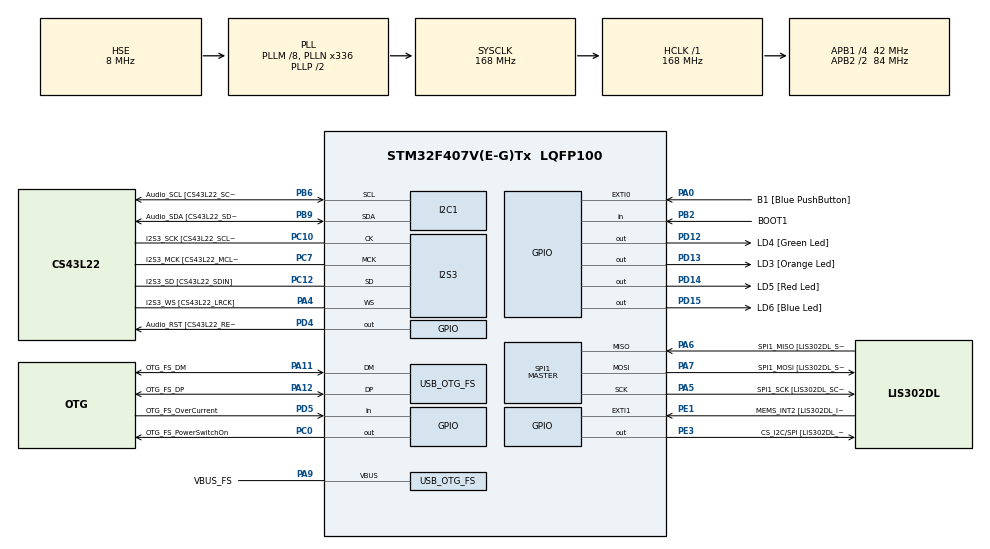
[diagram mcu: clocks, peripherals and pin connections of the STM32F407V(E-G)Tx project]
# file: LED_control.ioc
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I2S3.AudioFreq-Half_Duplex_Master=I2S_AUDIOFREQ_96K
I2S3.ErrorAudioFreq=-2.34 %
I2S3.ErrorAudioFreq-Half_Duplex_Master=0.8 %
I2S3.FullDuplexMode=I2S_FULLDUPLEXMODE_DISABLE
I2S3.Instance=SPI$Index
I2S3.RealAudioFreq=93.75 KHz
I2S3.RealAudioFreq-Half_Duplex_Master=96.774 KHz
I2S3.VirtualMode=I2S_MODE_MASTER
Mcu.Family=STM32F4
Mcu.Name=STM32F407V(E-G)Tx
Mcu.Package=LQFP100
NVIC.OTG_FS_IRQn=true\:0\:0\:false\:false\:true\:true\:true\:true
NVIC.PriorityGroup=NVIC_PRIORITYGROUP_0
PA0-WKUP.GPIO_Label=B1 [Blue PushButton]
PA0-WKUP.GPIO_ModeDefaultEXTI=GPIO_MODE_EVT_RISING
PA0-WKUP.GPIO_PuPd=GPIO_NOPULL
PA0-WKUP.Signal=GPXTI0
PA10.GPIO_Label=OTG_FS_ID
PA10.GPIO_Mode=GPIO_MODE_AF_PP
PA10.GPIO_PuPd=GPIO_NOPULL
PA10.GPIO_Speed=GPIO_SPEED_FREQ_LOW
PA10.Signal=USB_OTG_FS_ID
PA11.GPIO_Label=OTG_FS_DM
PA11.GPIO_Mode=GPIO_MODE_AF_PP
PA11.GPIO_PuPd=GPIO_NOPULL
PA11.GPIO_Speed=GPIO_SPEED_FREQ_LOW
PA11.Mode=Host_Only
PA11.Signal=USB_OTG_FS_DM
PA12.GPIO_Label=OTG_FS_DP
PA12.GPIO_Mode=GPIO_MODE_AF_PP
PA12.GPIO_PuPd=GPIO_NOPULL
PA12.GPIO_Speed=GPIO_SPEED_FREQ_LOW
PA12.Mode=Host_Only
PA12.Signal=USB_OTG_FS_DP
PA13.GPIO_Label=SWDIO
PA13.Mode=Serial_Wire
PA13.Signal=SYS_JTMS-SWDIO
PA14.GPIO_Label=SWCLK
PA14.Mode=Serial_Wire
PA14.Signal=SYS_JTCK-SWCLK
PA4.GPIO_Label=I2S3_WS [CS43L22_LRCK]
PA4.GPIO_Mode=GPIO_MODE_AF_PP
PA4.GPIO_PuPd=GPIO_NOPULL
PA4.GPIO_Speed=GPIO_SPEED_FREQ_LOW
PA4.Mode=Half_Duplex_Master
PA4.Signal=I2S3_WS
PA5.GPIO_Label=SPI1_SCK [LIS302DL_SCL/SPC]
PA5.GPIO_Mode=GPIO_MODE_AF_PP
PA5.GPIO_PuPd=GPIO_NOPULL
PA5.GPIO_Speed=GPIO_SPEED_FREQ_LOW
PA5.Mode=Full_Duplex_Master
PA5.Signal=SPI1_SCK
PA6.GPIO_Label=SPI1_MISO [LIS302DL_SDO]
PA6.GPIO_Mode=GPIO_MODE_AF_PP
PA6.GPIO_PuPd=GPIO_NOPULL
PA6.GPIO_Speed=GPIO_SPEED_FREQ_LOW
PA6.Mode=Full_Duplex_Master
PA6.Signal=SPI1_MISO
PA7.GPIO_Label=SPI1_MOSI [LIS302DL_SDA/SDI/SDO]
PA7.GPIO_Mode=GPIO_MODE_AF_PP
PA7.GPIO_PuPd=GPIO_NOPULL
PA7.GPIO_Speed=GPIO_SPEED_FREQ_LOW
PA7.Mode=Full_Duplex_Master
PA7.Signal=SPI1_MOSI
PA9.GPIO_Label=VBUS_FS
PA9.GPIO_Mode=GPIO_MODE_INPUT
PA9.GPIO_PuPd=GPIO_NOPULL
PA9.Mode=Activate_VBUS
PA9.Signal=USB_OTG_FS_VBUS
PB10.GPIO_Label=CLK_IN [MP45DT02_CLK]
PB10.GPIO_Mode=GPIO_MODE_AF_PP
PB10.GPIO_PuPd=GPIO_NOPULL
PB10.GPIO_Speed=GPIO_SPEED_FREQ_LOW
PB10.Signal=I2S2_CK
PB2.GPIO_Label=BOOT1
PB2.GPIO_Mode=GPIO_MODE_INPUT
PB2.GPIO_PuPd=GPIO_NOPULL
PB2.Signal=GPIO_Input
PB3.GPIO_Label=SWO
PB3.Signal=SYS_JTDO-SWO
PB6.GPIO_Label=Audio_SCL [CS43L22_SCL]
PB6.GPIO_Mode=GPIO_MODE_AF_OD
PB6.GPIO_Pu=GPIO_PULLUP
PB6.GPIO_PuPd=GPIO_NOPULL
PB6.GPIO_Speed=GPIO_SPEED_FREQ_LOW
PB6.Mode=I2C
PB6.Signal=I2C1_SCL
PB9.GPIO_Label=Audio_SDA [CS43L22_SDA]
PB9.GPIO_Mode=GPIO_MODE_AF_OD
PB9.GPIO_Pu=GPIO_PULLUP
PB9.GPIO_PuPd=GPIO_NOPULL
PB9.GPIO_Speed=GPIO_SPEED_FREQ_LOW
PB9.Mode=I2C
PB9.Signal=I2C1_SDA
PC0.GPIO_Label=OTG_FS_PowerSwitchOn
PC0.GPIO_PuPd=GPIO_NOPULL
PC0.GPIO_Speed=GPIO_SPEED_FREQ_LOW
PC0.PinState=GPIO_PIN_SET
PC0.Signal=GPIO_Output
PC10.GPIO_Label=I2S3_SCK [CS43L22_SCLK]
PC10.GPIO_Mode=GPIO_MODE_AF_PP
PC10.GPIO_PuPd=GPIO_NOPULL
PC10.GPIO_Speed=GPIO_SPEED_FREQ_LOW
PC10.Mode=Half_Duplex_Master
PC10.Signal=I2S3_CK
PC12.GPIO_Label=I2S3_SD [CS43L22_SDIN]
PC12.GPIO_Mode=GPIO_MODE_AF_PP
PC12.GPIO_PuPd=GPIO_NOPULL
PC12.GPIO_Speed=GPIO_SPEED_FREQ_LOW
PC12.Mode=Half_Duplex_Master
PC12.Signal=I2S3_SD
PC14-OSC32_IN.GPIO_Label=PC14-OSC32_IN
PC14-OSC32_IN.Mode=LSE-External-Oscillator
PC14-OSC32_IN.Signal=RCC_OSC32_IN
PC15-OSC32_OUT.GPIO_Label=PC15-OSC32_OUT
PC15-OSC32_OUT.Mode=LSE-External-Oscillator
PC15-OSC32_OUT.Signal=RCC_OSC32_OUT
PC3.GPIO_Label=PDM_OUT [MP45DT02_DOUT]
PC3.GPIO_Mode=GPIO_MODE_AF_PP
PC3.GPIO_PuPd=GPIO_NOPULL
PC3.GPIO_Speed=GPIO_SPEED_FREQ_LOW
PC3.Signal=I2S2_SD
PC7.GPIO_Label=I2S3_MCK [CS43L22_MCLK]
PC7.GPIO_Mode=GPIO_MODE_AF_PP
PC7.GPIO_PuPd=GPIO_NOPULL
PC7.GPIO_Speed=GPIO_SPEED_FREQ_LOW
PC7.Mode=Master_Clock_Activated
PC7.Signal=I2S3_MCK
PD12.GPIO_Label=LD4 [Green Led]
PD12.GPIO_PuPd=GPIO_NOPULL
PD12.GPIO_Speed=GPIO_SPEED_FREQ_LOW
PD12.Signal=GPIO_Output
PD13.GPIO_Label=LD3 [Orange Led]
PD13.GPIO_PuPd=GPIO_NOPULL
PD13.GPIO_Speed=GPIO_SPEED_FREQ_LOW
PD13.Signal=GPIO_Output
PD14.GPIO_Label=LD5 [Red Led]
PD14.GPIO_PuPd=GPIO_NOPULL
PD14.GPIO_Speed=GPIO_SPEED_FREQ_LOW
PD14.Signal=GPIO_Output
PD15.GPIO_Label=LD6 [Blue Led]
PD15.GPIO_PuPd=GPIO_NOPULL
PD15.GPIO_Speed=GPIO_SPEED_FREQ_LOW
PD15.Signal=GPIO_Output
PD4.GPIO_Label=Audio_RST [CS43L22_RESET]
PD4.GPIO_PuPd=GPIO_NOPULL
PD4.GPIO_Speed=GPIO_SPEED_FREQ_LOW
PD4.Signal=GPIO_Output
PD5.GPIO_Label=OTG_FS_OverCurrent
PD5.GPIO_Mode=GPIO_MODE_INPUT
PD5.GPIO_PuPd=GPIO_NOPULL
PD5.Signal=GPIO_Input
PE1.GPIO_Label=MEMS_INT2 [LIS302DL_INT2]
PE1.GPIO_ModeDefaultEXTI=GPIO_MODE_EVT_RISING
PE1.GPIO_PuPd=GPIO_NOPULL
PE1.Signal=GPXTI1
PE3.GPIO_Label=CS_I2C/SPI [LIS302DL_CS_I2C/SPI]
PE3.GPIO_PuPd=GPIO_NOPULL
PE3.GPIO_Speed=GPIO_SPEED_FREQ_LOW
PE3.Signal=GPIO_Output
PH0-OSC_IN.GPIO_Label=PH0-OSC_IN
PH0-OSC_IN.Mode=HSE-External-Oscillator
PH0-OSC_IN.Signal=RCC_OSC_IN
PH1-OSC_OUT.GPIO_Label=PH1-OSC_OUT
PH1-OSC_OUT.Mode=HSE-External-Oscillator
PH1-OSC_OUT.Signal=RCC_OSC_OUT
ProjectManager.HeapSize=0x400
ProjectManager.StackSize=0x800
ProjectManager.TargetToolchain=STM32CubeIDE
RCC.48MHZClocksFreq_Value=48000000
RCC.AHBFreq_Value=168000000
RCC.APB1CLKDivider=RCC_HCLK_DIV4
RCC.APB1Freq_Value=42000000
RCC.APB1TimFreq_Value=84000000
RCC.APB2CLKDivider=RCC_HCLK_DIV2
RCC.APB2Freq_Value=84000000
RCC.APB2TimFreq_Value=168000000
RCC.CortexFreq_Value=168000000
RCC.HCLKFreq_Value=168000000
RCC.HSE_VALUE=8000000
RCC.HSI_VALUE=16000000
RCC.PLLM=8
RCC.PLLN=336
RCC.PLLQ=7
RCC.SYSCLKFreq_VALUE=168000000
RCC.SYSCLKSource=RCC_SYSCLKSOURCE_PLLCLK
RCC.VCOOutputFreq_Value=336000000
SPI1.BaudRatePrescaler-Full_Duplex_Master=SPI_BAUDRATEPRESCALER_2
SPI1.CalculateBaudRate-Full_Duplex_Master=42.0 MBits/s
SPI1.Direction=SPI_DIRECTION_2LINES
SPI1.Mode=SPI_MODE_MASTER
SPI1.Mode-Full_Duplex_Master=SPI_MODE_MASTER
SPI1.VirtualType=VM_MASTER
USB_HOST.BSP.number=1
USB_HOST.USBH_HandleTypeDef-CDC_FS=hUsbHostFS
USB_HOST.VirtualModeFS=Cdc
USB_HOST0.BSP.STBoard=false
USB_HOST0.BSP.api=Unknown
USB_HOST0.BSP.instance=PC0
USB_HOST0.BSP.ip=GPIO
USB_HOST0.BSP.mode=Output
USB_HOST0.BSP.name=Drive_VBUS_FS
USB_HOST0.BSP.solution=PC0
USB_OTG_FS.VirtualMode=Host_Only
USB_OTG_FS.phy_itface=HCD_PHY_EMBEDDED
VP_USB_HOST_VS_USB_HOST_CDC_FS.Mode=CDC_FS
board=STM32F407G-DISC1

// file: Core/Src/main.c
/* USER CODE BEGIN Header */
/**
 ******************************************************************************
 * @file           : main.c
 * @brief          : Main program body
 ******************************************************************************
 * @attention
 *
 * Copyright (c) 2025 STMicroelectronics.
 * All rights reserved.
 *
 * This software is licensed under terms that can be found in the LICENSE file
 * in the root directory of this software component.
 * If no LICENSE file comes with this software, it is provided AS-IS.
 *
 ******************************************************************************
 */
/* USER CODE END Header */
#include "main.h"

#include "gpio.h"
#include "i2c.h"
#include "i2s.h"
#include "spi.h"
#include "usb_host.h"

/* USER CODE BEGIN PD */
#define LED_PORT GPIOD
#define LED_PIN_GREEN GPIO_PIN_12
#define LED_PIN_ORANGE GPIO_PIN_13
#define LED_PIN_RED GPIO_PIN_14
#define LED_PIN_BLUE GPIO_PIN_15

#define BUTTON_PORT GPIOA
#define BUTTON_BLUE_PIN GPIO_PIN_0

/* USER CODE END PD */

void SystemClock_Config(void);
void MX_USB_HOST_Process(void);

/* USER CODE BEGIN PFP */
void pin_on(GPIO_TypeDef* port, uint16_t pin) {
    HAL_GPIO_WritePin(port, pin, GPIO_PIN_SET);
}
void pin_off(GPIO_TypeDef* port, uint16_t pin) {
    HAL_GPIO_WritePin(port, pin, GPIO_PIN_RESET);
}
/* USER CODE END PFP */

int main(void) {

    /* MCU
     * Configuration--------------------------------------------------------*/

    /* Reset of all peripherals, Initializes the Flash interface and the
     * Systick. */
    HAL_Init();

    /* Configure the system clock */
    SystemClock_Config();

    /* Initialize all configured peripherals */
    MX_GPIO_Init();
    MX_I2C1_Init();
    MX_I2S3_Init();
    MX_SPI1_Init();
    MX_USB_HOST_Init();

    /* Infinite loop */
    /* USER CODE BEGIN WHILE */
    while (1) {
        const uint16_t LEDs = LED_PIN_GREEN | LED_PIN_RED;
        pin_on(LED_PORT, LEDs);
        HAL_Delay(200);
        pin_off(LED_PORT, LEDs);
        HAL_Delay(200);
        /* USER CODE END WHILE */
        MX_USB_HOST_Process();

    }
}

void SystemClock_Config(void) {
    RCC_OscInitTypeDef RCC_OscInitStruct = {0};
    RCC_ClkInitTypeDef RCC_ClkInitStruct = {0};

    /** Configure the main internal regulator output voltage
     */
    __HAL_RCC_PWR_CLK_ENABLE();
    __HAL_PWR_VOLTAGESCALING_CONFIG(PWR_REGULATOR_VOLTAGE_SCALE1);

    /** Initializes the RCC Oscillators according to the specified parameters
     * in the RCC_OscInitTypeDef structure.
     */
    RCC_OscInitStruct.OscillatorType = RCC_OSCILLATORTYPE_HSE;
    RCC_OscInitStruct.HSEState = RCC_HSE_ON;
    RCC_OscInitStruct.PLL.PLLState = RCC_PLL_ON;
    RCC_OscInitStruct.PLL.PLLSource = RCC_PLLSOURCE_HSE;
    RCC_OscInitStruct.PLL.PLLM = 8;
    RCC_OscInitStruct.PLL.PLLN = 336;
    RCC_OscInitStruct.PLL.PLLP = RCC_PLLP_DIV2;
    RCC_OscInitStruct.PLL.PLLQ = 7;
    if (HAL_RCC_OscConfig(&RCC_OscInitStruct) != HAL_OK) {
        Error_Handler();
    }

    /** Initializes the CPU, AHB and APB buses clocks
     */
    RCC_ClkInitStruct.ClockType = RCC_CLOCKTYPE_HCLK | RCC_CLOCKTYPE_SYSCLK |
                                  RCC_CLOCKTYPE_PCLK1 | RCC_CLOCKTYPE_PCLK2;
    RCC_ClkInitStruct.SYSCLKSource = RCC_SYSCLKSOURCE_PLLCLK;
    RCC_ClkInitStruct.AHBCLKDivider = RCC_SYSCLK_DIV1;
    RCC_ClkInitStruct.APB1CLKDivider = RCC_HCLK_DIV4;
    RCC_ClkInitStruct.APB2CLKDivider = RCC_HCLK_DIV2;

    if (HAL_RCC_ClockConfig(&RCC_ClkInitStruct, FLASH_LATENCY_5) != HAL_OK) {
        Error_Handler();
    }
}

void Error_Handler(void) {
    /* USER CODE BEGIN Error_Handler_Debug */
    /* User can add his own implementation to report the HAL error return state
     */
    __disable_irq();
    while (1) {
    }
    /* USER CODE END Error_Handler_Debug */
}
#ifdef USE_FULL_ASSERT
/**
 * @brief  Reports the name of the source file and the source line number
 *         where the assert_param error has occurred.
 * @param  file: pointer to the source file name
 * @param  line: assert_param error line source number
 * @retval None
 */
void assert_failed(uint8_t* file, uint32_t line) {
    /* USER CODE BEGIN 6 */
    /* User can add his own implementation to report the file name and line
       number, ex: printf("Wrong parameters value: file %s on line %d\r\n",
       file, line) */
    /* USER CODE END 6 */
}
#endif /* USE_FULL_ASSERT */
